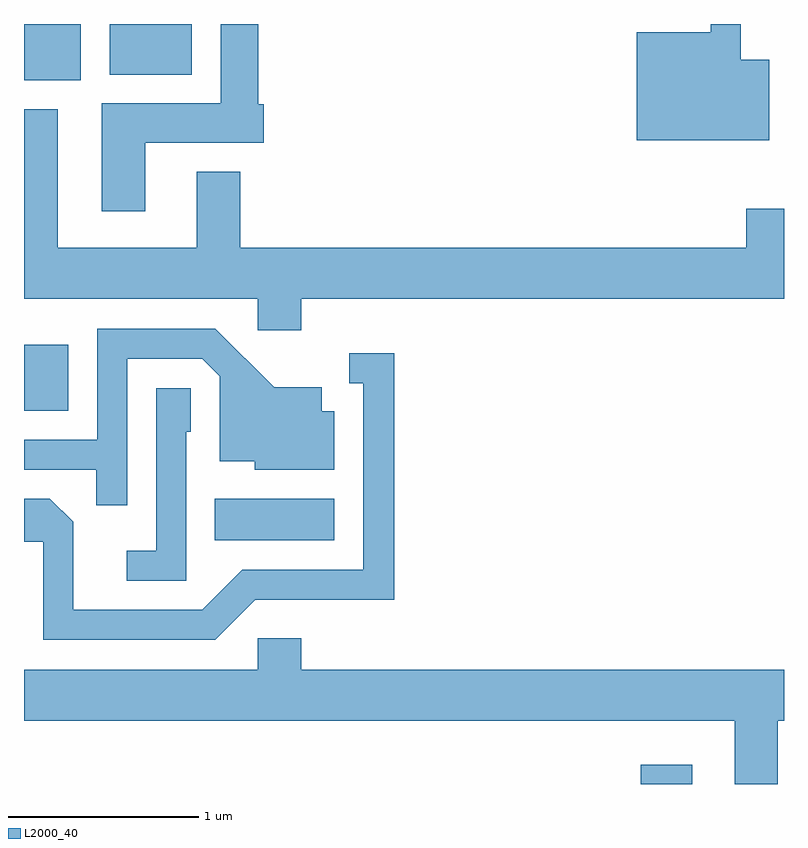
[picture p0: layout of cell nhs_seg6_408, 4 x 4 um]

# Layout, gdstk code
import gdstk
lib = gdstk.Library(unit=1e-6, precision=1e-09)
def R(c, l, rs):  # rectangles x0, y0, x1, y1
    for r in rs: c.add(gdstk.rectangle(r[:2], r[2:], *l))
def P(c, l, *ps):  # polygons
    for p in ps: c.add(gdstk.Polygon(p, *l))
L2000_40 = (2000, 40)

nhs_seg6_408 = lib.new_cell('nhs_seg6_408')
R(nhs_seg6_408, L2000_40, [(200.856,1534.162,201.128,1534.264), (198.616,1535.446,199.244,1535.664), (197.611,1536.126,197.844,1536.474), (197.611,1537.866,197.909,1538.162), (198.061,1537.896,198.494,1538.162)])
P(nhs_seg6_408, L2000_40, [(201.534,1537.974),(201.384,1537.974),(201.384,1538.162),(201.226,1538.162),(201.226,1538.119),(200.836,1538.119),(200.836,1537.551),(201.534,1537.551)],
  [(198.249,1537.536),(198.874,1537.536),(198.874,1537.739),(198.844,1537.739),(198.844,1538.162),(198.646,1538.162),(198.646,1537.744),(198.021,1537.744),(198.021,1537.176),(198.249,1537.176)],
  [(199.069,1536.716),(201.611,1536.716),(201.611,1537.189),(201.411,1537.189),(201.411,1536.984),(198.749,1536.984),(198.749,1537.384),(198.521,1537.384),(198.521,1536.984),(197.789,1536.984),(197.789,1537.714),(197.611,1537.714),(197.611,1536.716),(198.841,1536.716),(198.841,1536.551),(199.069,1536.551)],
  [(198.154,1536.401),(198.549,1536.401),(198.641,1536.309),(198.641,1535.861),(198.826,1535.861),(198.826,1535.816),(199.244,1535.816),(199.244,1536.124),(199.179,1536.124),(199.179,1536.249),(198.927,1536.249),(198.617,1536.559),(197.996,1536.559),(197.996,1535.974),(197.611,1535.974),(197.611,1535.816),(197.991,1535.816),(197.991,1535.628),(198.154,1535.628)],
  [(198.827,1535.131),(199.559,1535.131),(199.559,1536.429),(199.323,1536.429),(199.323,1536.271),(199.396,1536.271),(199.396,1535.289),(198.759,1535.289),(198.549,1535.079),(197.869,1535.079),(197.869,1535.542),(197.747,1535.664),(197.611,1535.664),(197.611,1535.436),(197.711,1535.436),(197.711,1534.921),(198.617,1534.921)],
  [(198.464,1536.016),(198.489,1536.016),(198.489,1536.244),(198.306,1536.244),(198.306,1535.389),(198.153,1535.389),(198.153,1535.231),(198.464,1535.231)],
  [(201.579,1534.496),(201.611,1534.496),(201.611,1534.764),(199.069,1534.764),(199.069,1534.929),(198.841,1534.929),(198.841,1534.764),(197.611,1534.764),(197.611,1534.496),(201.351,1534.496),(201.351,1534.162),(201.579,1534.162)])

lib.write_gds('nhs_seg6_408.gds')
